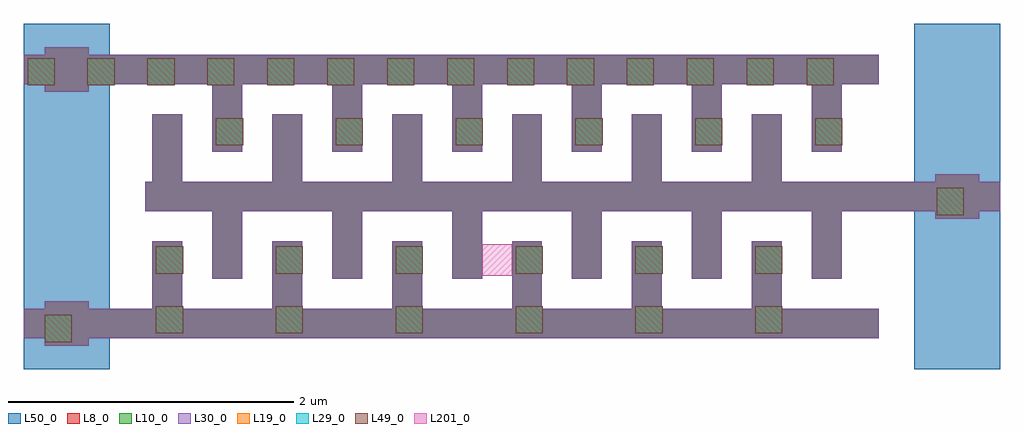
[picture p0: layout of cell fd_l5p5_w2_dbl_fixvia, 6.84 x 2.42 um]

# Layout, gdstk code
import gdstk
lib = gdstk.Library(unit=1e-6, precision=1e-09)
def R(c, l, rs):  # rectangles x0, y0, x1, y1
    for r in rs: c.add(gdstk.rectangle(r[:2], r[2:], *l))
def A(c, l, x, y, w, h, nx, ny, dx, dy):  # array of equal rectangles
    R(c, l, [(x+i*dx, y+j*dy, x+i*dx+w, y+j*dy+h) for i in range(nx) for j in range(ny)])
def P(c, l, *ps):  # polygons
    for p in ps: c.add(gdstk.Polygon(p, *l))
L8_0 = (8, 0)
L10_0 = (10, 0)
L19_0 = (19, 0)
L29_0 = (29, 0)
L30_0 = (30, 0)
L49_0 = (49, 0)
L50_0 = (50, 0)
L201_0 = (201, 0)

fd_l5p5_w2_dbl_fixvia = lib.new_cell('fd_l5p5_w2_dbl_fixvia')
P(fd_l5p5_w2_dbl_fixvia, L8_0, [(-0.755,-0.155),(-0.755,-0.105),(-0.9,-0.105),(-0.9,0.105),(-0.755,0.105),(-0.755,0.155),(-0.445,0.155),(-0.445,0.105),(0,0.105),(0,0.575),(0.21,0.575),(0.21,0.105),(0.84,0.105),(0.84,0.575),(1.05,0.575),(1.05,0.105),(1.68,0.105),(1.68,0.575),(1.89,0.575),(1.89,0.105),(2.52,0.105),(2.52,0.575),(2.73,0.575),(2.73,0.105),(3.36,0.105),(3.36,0.575),(3.57,0.575),(3.57,0.105),(4.2,0.105),(4.2,0.575),(4.41,0.575),(4.41,0.105),(5.09,0.105),(5.09,-0.105),(-0.445,-0.105),(-0.445,-0.155)],
  [(0.42,1.205),(0.42,1.675),(-0.445,1.675),(-0.445,1.625),(-0.755,1.625),(-0.755,1.675),(-0.9,1.675),(-0.9,1.885),(-0.755,1.885),(-0.755,1.935),(-0.445,1.935),(-0.445,1.885),(5.09,1.885),(5.09,1.675),(4.83,1.675),(4.83,1.205),(4.62,1.205),(4.62,1.675),(3.99,1.675),(3.99,1.205),(3.78,1.205),(3.78,1.675),(3.15,1.675),(3.15,1.205),(2.94,1.205),(2.94,1.675),(2.31,1.675),(2.31,1.205),(2.1,1.205),(2.1,1.675),(1.47,1.675),(1.47,1.205),(1.26,1.205),(1.26,1.675),(0.63,1.675),(0.63,1.205)],
  [(0.42,0.315),(0.42,0.785),(-0.05,0.785),(-0.05,0.995),(0,0.995),(0,1.465),(0.21,1.465),(0.21,0.995),(0.84,0.995),(0.84,1.465),(1.05,1.465),(1.05,0.995),(1.68,0.995),(1.68,1.465),(1.89,1.465),(1.89,0.995),(2.52,0.995),(2.52,1.465),(2.73,1.465),(2.73,0.995),(3.36,0.995),(3.36,1.465),(3.57,1.465),(3.57,0.995),(4.2,0.995),(4.2,1.465),(4.41,1.465),(4.41,0.995),(5.485,0.995),(5.485,1.045),(5.795,1.045),(5.795,0.995),(5.94,0.995),(5.94,0.785),(5.795,0.785),(5.795,0.735),(5.485,0.735),(5.485,0.785),(4.83,0.785),(4.83,0.315),(4.62,0.315),(4.62,0.785),(3.99,0.785),(3.99,0.315),(3.78,0.315),(3.78,0.785),(3.15,0.785),(3.15,0.315),(2.94,0.315),(2.94,0.785),(2.31,0.785),(2.31,0.315),(2.1,0.315),(2.1,0.785),(1.47,0.785),(1.47,0.315),(1.26,0.315),(1.26,0.785),(0.63,0.785),(0.63,0.315)])
P(fd_l5p5_w2_dbl_fixvia, L10_0, [(-0.755,-0.155),(-0.755,-0.105),(-0.9,-0.105),(-0.9,0.105),(-0.755,0.105),(-0.755,0.155),(-0.445,0.155),(-0.445,0.105),(0,0.105),(0,0.575),(0.21,0.575),(0.21,0.105),(0.84,0.105),(0.84,0.575),(1.05,0.575),(1.05,0.105),(1.68,0.105),(1.68,0.575),(1.89,0.575),(1.89,0.105),(2.52,0.105),(2.52,0.575),(2.73,0.575),(2.73,0.105),(3.36,0.105),(3.36,0.575),(3.57,0.575),(3.57,0.105),(4.2,0.105),(4.2,0.575),(4.41,0.575),(4.41,0.105),(5.09,0.105),(5.09,-0.105),(-0.445,-0.105),(-0.445,-0.155)],
  [(0.42,1.205),(0.42,1.675),(-0.445,1.675),(-0.445,1.625),(-0.755,1.625),(-0.755,1.675),(-0.9,1.675),(-0.9,1.885),(-0.755,1.885),(-0.755,1.935),(-0.445,1.935),(-0.445,1.885),(5.09,1.885),(5.09,1.675),(4.83,1.675),(4.83,1.205),(4.62,1.205),(4.62,1.675),(3.99,1.675),(3.99,1.205),(3.78,1.205),(3.78,1.675),(3.15,1.675),(3.15,1.205),(2.94,1.205),(2.94,1.675),(2.31,1.675),(2.31,1.205),(2.1,1.205),(2.1,1.675),(1.47,1.675),(1.47,1.205),(1.26,1.205),(1.26,1.675),(0.63,1.675),(0.63,1.205)],
  [(0.42,0.315),(0.42,0.785),(-0.05,0.785),(-0.05,0.995),(0,0.995),(0,1.465),(0.21,1.465),(0.21,0.995),(0.84,0.995),(0.84,1.465),(1.05,1.465),(1.05,0.995),(1.68,0.995),(1.68,1.465),(1.89,1.465),(1.89,0.995),(2.52,0.995),(2.52,1.465),(2.73,1.465),(2.73,0.995),(3.36,0.995),(3.36,1.465),(3.57,1.465),(3.57,0.995),(4.2,0.995),(4.2,1.465),(4.41,1.465),(4.41,0.995),(5.485,0.995),(5.485,1.045),(5.795,1.045),(5.795,0.995),(5.94,0.995),(5.94,0.785),(5.795,0.785),(5.795,0.735),(5.485,0.735),(5.485,0.785),(4.83,0.785),(4.83,0.315),(4.62,0.315),(4.62,0.785),(3.99,0.785),(3.99,0.315),(3.78,0.315),(3.78,0.785),(3.15,0.785),(3.15,0.315),(2.94,0.315),(2.94,0.785),(2.31,0.785),(2.31,0.315),(2.1,0.315),(2.1,0.785),(1.47,0.785),(1.47,0.315),(1.26,0.315),(1.26,0.785),(0.63,0.785),(0.63,0.315)])
A(fd_l5p5_w2_dbl_fixvia, L19_0, 0.025, -0.07, 0.19, 0.19, 6, 2, 0.84, 0.42)
A(fd_l5p5_w2_dbl_fixvia, L19_0, 0.445, 1.25, 0.19, 0.19, 6, 1, 0.84, 0)
A(fd_l5p5_w2_dbl_fixvia, L19_0, -0.875, 1.67, 0.19, 0.19, 14, 1, 0.42, 0)
R(fd_l5p5_w2_dbl_fixvia, L19_0, [(-0.755,-0.13,-0.565,0.06), (5.495,0.76,5.685,0.95)])
A(fd_l5p5_w2_dbl_fixvia, L29_0, 0.025, -0.07, 0.19, 0.19, 6, 2, 0.84, 0.42)
A(fd_l5p5_w2_dbl_fixvia, L29_0, 0.445, 1.25, 0.19, 0.19, 6, 1, 0.84, 0)
A(fd_l5p5_w2_dbl_fixvia, L29_0, -0.875, 1.67, 0.19, 0.19, 14, 1, 0.42, 0)
R(fd_l5p5_w2_dbl_fixvia, L29_0, [(-0.755,-0.13,-0.565,0.06), (5.495,0.76,5.685,0.95)])
P(fd_l5p5_w2_dbl_fixvia, L30_0, [(-0.755,-0.155),(-0.755,-0.105),(-0.9,-0.105),(-0.9,0.105),(-0.755,0.105),(-0.755,0.155),(-0.445,0.155),(-0.445,0.105),(0,0.105),(0,0.575),(0.21,0.575),(0.21,0.105),(0.84,0.105),(0.84,0.575),(1.05,0.575),(1.05,0.105),(1.68,0.105),(1.68,0.575),(1.89,0.575),(1.89,0.105),(2.52,0.105),(2.52,0.575),(2.73,0.575),(2.73,0.105),(3.36,0.105),(3.36,0.575),(3.57,0.575),(3.57,0.105),(4.2,0.105),(4.2,0.575),(4.41,0.575),(4.41,0.105),(5.09,0.105),(5.09,-0.105),(-0.445,-0.105),(-0.445,-0.155)],
  [(0.42,1.205),(0.42,1.675),(-0.445,1.675),(-0.445,1.625),(-0.755,1.625),(-0.755,1.675),(-0.9,1.675),(-0.9,1.885),(-0.755,1.885),(-0.755,1.935),(-0.445,1.935),(-0.445,1.885),(5.09,1.885),(5.09,1.675),(4.83,1.675),(4.83,1.205),(4.62,1.205),(4.62,1.675),(3.99,1.675),(3.99,1.205),(3.78,1.205),(3.78,1.675),(3.15,1.675),(3.15,1.205),(2.94,1.205),(2.94,1.675),(2.31,1.675),(2.31,1.205),(2.1,1.205),(2.1,1.675),(1.47,1.675),(1.47,1.205),(1.26,1.205),(1.26,1.675),(0.63,1.675),(0.63,1.205)],
  [(0.42,0.315),(0.42,0.785),(-0.05,0.785),(-0.05,0.995),(0,0.995),(0,1.465),(0.21,1.465),(0.21,0.995),(0.84,0.995),(0.84,1.465),(1.05,1.465),(1.05,0.995),(1.68,0.995),(1.68,1.465),(1.89,1.465),(1.89,0.995),(2.52,0.995),(2.52,1.465),(2.73,1.465),(2.73,0.995),(3.36,0.995),(3.36,1.465),(3.57,1.465),(3.57,0.995),(4.2,0.995),(4.2,1.465),(4.41,1.465),(4.41,0.995),(5.485,0.995),(5.485,1.045),(5.795,1.045),(5.795,0.995),(5.94,0.995),(5.94,0.785),(5.795,0.785),(5.795,0.735),(5.485,0.735),(5.485,0.785),(4.83,0.785),(4.83,0.315),(4.62,0.315),(4.62,0.785),(3.99,0.785),(3.99,0.315),(3.78,0.315),(3.78,0.785),(3.15,0.785),(3.15,0.315),(2.94,0.315),(2.94,0.785),(2.31,0.785),(2.31,0.315),(2.1,0.315),(2.1,0.785),(1.47,0.785),(1.47,0.315),(1.26,0.315),(1.26,0.785),(0.63,0.785),(0.63,0.315)])
A(fd_l5p5_w2_dbl_fixvia, L49_0, 0.025, -0.07, 0.19, 0.19, 6, 2, 0.84, 0.42)
A(fd_l5p5_w2_dbl_fixvia, L49_0, 0.445, 1.25, 0.19, 0.19, 6, 1, 0.84, 0)
A(fd_l5p5_w2_dbl_fixvia, L49_0, -0.875, 1.67, 0.19, 0.19, 14, 1, 0.42, 0)
R(fd_l5p5_w2_dbl_fixvia, L49_0, [(-0.755,-0.13,-0.565,0.06), (5.495,0.76,5.685,0.95)])
P(fd_l5p5_w2_dbl_fixvia, L50_0, [(-0.9,-0.32),(-0.9,2.1),(-0.3,2.1),(-0.3,1.885),(5.09,1.885),(5.09,1.675),(4.83,1.675),(4.83,1.205),(4.62,1.205),(4.62,1.675),(3.99,1.675),(3.99,1.205),(3.78,1.205),(3.78,1.675),(3.15,1.675),(3.15,1.205),(2.94,1.205),(2.94,1.675),(2.31,1.675),(2.31,1.205),(2.1,1.205),(2.1,1.675),(1.47,1.675),(1.47,1.205),(1.26,1.205),(1.26,1.675),(0.63,1.675),(0.63,1.205),(0.42,1.205),(0.42,1.675),(-0.3,1.675),(-0.3,0.105),(0,0.105),(0,0.575),(0.21,0.575),(0.21,0.105),(0.84,0.105),(0.84,0.575),(1.05,0.575),(1.05,0.105),(1.68,0.105),(1.68,0.575),(1.89,0.575),(1.89,0.105),(2.52,0.105),(2.52,0.575),(2.73,0.575),(2.73,0.105),(3.36,0.105),(3.36,0.575),(3.57,0.575),(3.57,0.105),(4.2,0.105),(4.2,0.575),(4.41,0.575),(4.41,0.105),(5.09,0.105),(5.09,-0.105),(-0.3,-0.105),(-0.3,-0.32)],
  [(5.34,-0.32),(5.34,0.785),(4.83,0.785),(4.83,0.315),(4.62,0.315),(4.62,0.785),(3.99,0.785),(3.99,0.315),(3.78,0.315),(3.78,0.785),(3.15,0.785),(3.15,0.315),(2.94,0.315),(2.94,0.785),(2.31,0.785),(2.31,0.315),(2.1,0.315),(2.1,0.785),(1.47,0.785),(1.47,0.315),(1.26,0.315),(1.26,0.785),(0.63,0.785),(0.63,0.315),(0.42,0.315),(0.42,0.785),(-0.05,0.785),(-0.05,0.995),(0,0.995),(0,1.465),(0.21,1.465),(0.21,0.995),(0.84,0.995),(0.84,1.465),(1.05,1.465),(1.05,0.995),(1.68,0.995),(1.68,1.465),(1.89,1.465),(1.89,0.995),(2.52,0.995),(2.52,1.465),(2.73,1.465),(2.73,0.995),(3.36,0.995),(3.36,1.465),(3.57,1.465),(3.57,0.995),(4.2,0.995),(4.2,1.465),(4.41,1.465),(4.41,0.995),(5.34,0.995),(5.34,2.1),(5.94,2.1),(5.94,-0.32)])
R(fd_l5p5_w2_dbl_fixvia, L201_0, [(2.31,0.335,2.52,0.555)])

lib.write_gds('fd_l5p5_w2_dbl_fixvia.gds')
